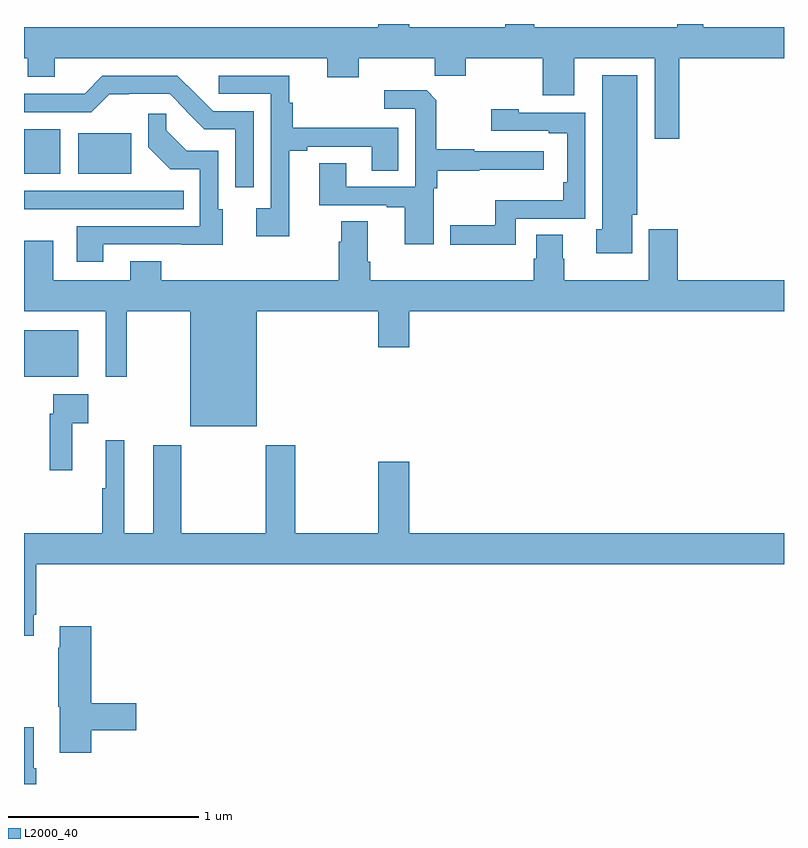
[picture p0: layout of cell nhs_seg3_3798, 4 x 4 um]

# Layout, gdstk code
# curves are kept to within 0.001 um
import gdstk
lib = gdstk.Library(unit=1e-6, precision=1e-09)
def R(c, l, rs):  # rectangles x0, y0, x1, y1
    for r in rs: c.add(gdstk.rectangle(r[:2], r[2:], *l))
def P(c, l, *ps):  # polygons
    for p in ps: c.add(gdstk.Polygon(p, *l))
L2000_40 = (2000, 40)

nhs_seg3_3798 = lib.new_cell('nhs_seg3_3798')
R(nhs_seg3_3798, L2000_40, [(307,728.543,307.285,728.788), (307,729.611,307.192,729.847), (307.286,729.611,307.564,729.826)])
P(nhs_seg3_3798, L2000_40, [(310.448,730.22),(311,730.22),(311,730.384),(310.575,730.384),(310.575,730.4),(310.437,730.4),(310.437,730.384),(309.685,730.384),(309.685,730.4),(309.533,730.4),(309.533,730.384),(309.028,730.384),(309.028,730.4),(308.864,730.4),(308.864,730.384),(307,730.384),(307,730.22),(307.02,730.22),(307.02,730.122),(307.162,730.122),(307.162,730.22),(308.597,730.22),(308.597,730.121),(308.761,730.121),(308.761,730.22),(309.161,730.22),(309.161,730.127),(309.325,730.127),(309.325,730.22),(309.731,730.22),(309.731,730.026),(309.895,730.026),(309.895,730.22),(310.319,730.22),(310.319,729.795),(310.448,729.795)],
  [(310.201,729.396),(310.228,729.396),(310.228,730.129),(310.043,730.129),(310.043,729.32),(310.013,729.32),(310.013,729.194),(310.201,729.194)],
  [(308.208,729.942),(307.995,729.942),(307.807,730.128),(307.413,730.128),(307.319,730.034),(307.214,730.034),(307.214,730.032),(307,730.032),(307,729.936),(307.353,729.936),(307.448,730.031),(307.767,730.032),(307.857,729.942),(307.855,729.94),(307.949,729.846),(308.112,729.846),(308.112,729.54),(308.208,729.54)],
  [(308.395,729.733),(308.491,729.733),(308.491,729.753),(308.831,729.753),(308.831,729.628),(308.971,729.628),(308.971,729.854),(308.414,729.854),(308.414,729.986),(308.396,729.986),(308.396,730.128),(308.025,730.128),(308.025,730.032),(308.298,730.032),(308.298,729.43),(308.223,729.43),(308.223,729.282),(308.395,729.282)],
  [(309.156,729.536),(309.176,729.536),(309.176,729.628),(309.395,729.628),(309.395,729.632),(309.736,729.632),(309.736,729.729),(309.371,729.729),(309.371,729.742),(309.171,729.742),(309.171,729.999),(309.119,730.051),(308.895,730.051),(308.895,729.954),(309.06,729.954),(309.06,729.543),(308.695,729.543),(308.695,729.668),(308.555,729.668),(308.555,729.447),(308.909,729.447),(308.909,729.435),(309.005,729.435),(309.005,729.24),(309.156,729.24)],
  [(309.588,729.375),(309.954,729.375),(309.954,729.933),(309.603,729.933),(309.603,729.952),(309.459,729.952),(309.459,729.837),(309.761,729.837),(309.761,729.825),(309.858,729.825),(309.858,729.568),(309.838,729.568),(309.838,729.472),(309.48,729.472),(309.48,729.341),(309.243,729.341),(309.243,729.239),(309.588,729.239)],
  [(307.417,729.24),(308.047,729.239),(308.047,729.426),(308.022,729.426),(308.022,729.732),(307.856,729.732),(307.748,729.84),(307.748,729.928),(307.653,729.928),(307.653,729.752),(307.769,729.636),(307.926,729.636),(307.926,729.336),(307.277,729.336),(307.277,729.15),(307.417,729.15)],
  [(307.181,729.426),(307.841,729.426),(307.841,729.522),(307,729.522),(307,729.425),(307.181,729.425)],
  [(308.224,728.888),(308.864,728.888),(308.864,728.7),(309.028,728.7),(309.028,728.888),(311,728.888),(311,729.052),(310.442,729.052),(310.442,729.319),(310.289,729.319),(310.289,729.052),(309.843,729.052),(309.843,729.165),(309.835,729.165),(309.835,729.29),(309.695,729.29),(309.695,729.165),(309.683,729.165),(309.683,729.052),(308.822,729.052),(308.822,729.148),(308.809,729.148),(308.809,729.362),(308.669,729.362),(308.669,729.254),(308.657,729.254),(308.657,729.052),(307.723,729.052),(307.723,729.151),(307.559,729.151),(307.559,729.052),(307.153,729.052),(307.153,729.259),(307,729.259),(307,728.888),(307.43,728.888),(307.43,728.544),(307.54,728.544),(307.54,728.888),(307.874,728.888),(307.874,728.282),(308.224,728.282)],
  [(307.253,728.3),(307.339,728.3),(307.339,728.452),(307.155,728.452),(307.155,728.348),(307.135,728.348),(307.135,728.052),(307.253,728.052)],
  [(307.051,727.291),(307.064,727.291),(307.064,727.556),(311,727.556),(311,727.72),(309.028,727.72),(309.028,728.095),(308.864,728.095),(308.864,727.72),(308.427,727.72),(308.427,728.182),(308.272,728.182),(308.272,727.72),(307.827,727.72),(307.827,728.182),(307.679,728.182),(307.679,727.72),(307.528,727.72),(307.528,728.209),(307.43,728.209),(307.43,727.956),(307.411,727.956),(307.411,727.72),(307,727.72),(307,727.179),(307.051,727.179)],
  [(307.355,726.682),(307.591,726.682),(307.591,726.824),(307.355,726.824),(307.355,727.231),(307.187,727.231),(307.187,727.118),(307.18,727.118),(307.18,726.807),(307.187,726.807),(307.187,726.564),(307.355,726.564)],
  [(307.064,726.484),(307.051,726.484),(307.051,726.7),(307,726.7),(307,726.4),(307.064,726.4)])

lib.write_gds('nhs_seg3_3798.gds')
